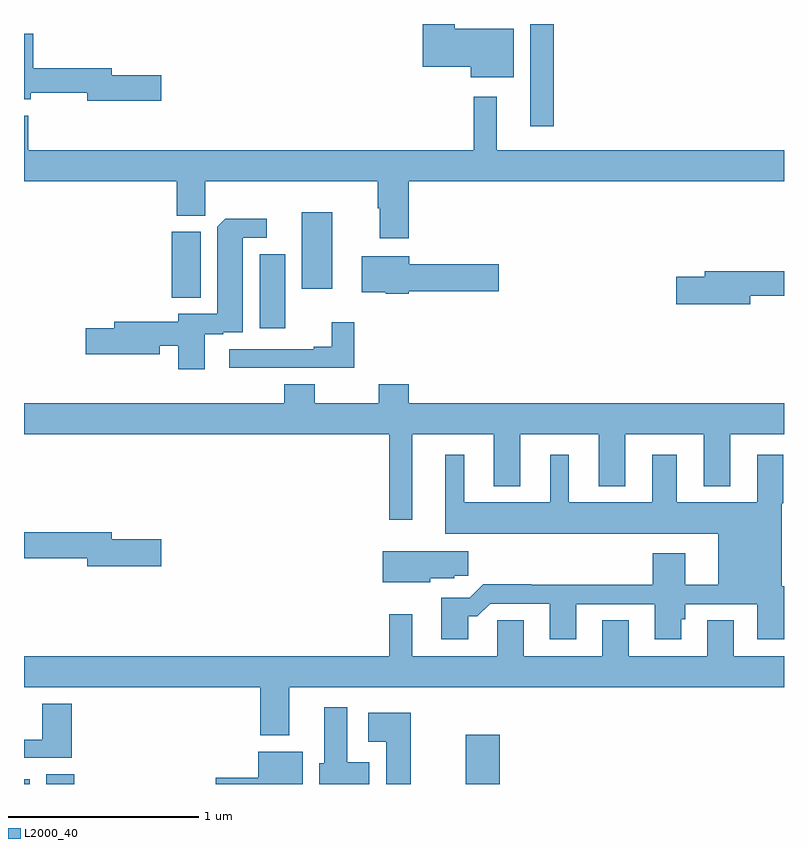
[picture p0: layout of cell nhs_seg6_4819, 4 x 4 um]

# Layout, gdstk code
import gdstk
lib = gdstk.Library(unit=1e-6, precision=1e-09)
def R(c, l, rs):  # rectangles x0, y0, x1, y1
    for r in rs: c.add(gdstk.rectangle(r[:2], r[2:], *l))
def P(c, l, *ps):  # polygons
    for p in ps: c.add(gdstk.Polygon(p, *l))
L2000_40 = (2000, 40)

nhs_seg6_4819 = lib.new_cell('nhs_seg6_4819')
R(nhs_seg6_4819, L2000_40, [(397,941.5,397.03,941.524), (397.118,941.5,397.265,941.552), (399.325,941.5,399.503,941.758), (398.24,943.898,398.374,944.287), (397.778,944.059,397.93,944.406), (398.462,944.106,398.623,944.509), (399.665,944.961,399.787,945.5)])
P(nhs_seg6_4819, L2000_40, [(399.577,945.475),(399.268,945.475),(399.268,945.5),(399.098,945.5),(399.098,945.275),(399.35,945.275),(399.35,945.221),(399.577,945.221)],
  [(397.723,945.23),(397.462,945.23),(397.462,945.266),(397.049,945.266),(397.049,945.449),(397,945.449),(397,945.103),(397.036,945.103),(397.036,945.138),(397.334,945.138),(397.334,945.095),(397.723,945.095)],
  [(399.026,944.672),(401,944.672),(401,944.836),(399.487,944.836),(399.487,945.118),(399.366,945.118),(399.366,944.836),(397.022,944.836),(397.022,945.018),(397,945.018),(397,944.672),(397.805,944.672),(397.805,944.491),(397.955,944.491),(397.955,944.672),(398.861,944.672),(398.861,944.531),(398.873,944.531),(398.873,944.373),(399.026,944.373)],
  [(397.951,943.866),(398.048,943.866),(398.048,943.878),(398.152,943.878),(398.152,944.376),(398.278,944.376),(398.278,944.474),(398.059,944.474),(398.018,944.432),(398.018,943.974),(397.811,943.974),(397.811,943.934),(397.475,943.934),(397.475,943.898),(397.326,943.898),(397.326,943.763),(397.714,943.763),(397.714,943.806),(397.811,943.806),(397.811,943.683),(397.951,943.683)],
  [(399.024,944.093),(399.499,944.093),(399.499,944.235),(399.028,944.235),(399.028,944.278),(398.777,944.278),(398.777,944.087),(398.903,944.087),(398.903,944.08),(399.024,944.08)],
  [(400.822,944.071),(401,944.071),(401,944.2),(400.583,944.2),(400.583,944.171),(400.434,944.171),(400.434,944.024),(400.822,944.024)],
  [(398.738,943.93),(398.62,943.93),(398.62,943.801),(398.525,943.801),(398.525,943.788),(398.079,943.788),(398.079,943.692),(398.738,943.692)],
  [(399.043,943.34),(399.473,943.34),(399.473,943.067),(399.613,943.067),(399.613,943.34),(400.025,943.34),(400.025,943.067),(400.165,943.067),(400.165,943.34),(400.577,943.34),(400.577,943.067),(400.717,943.067),(400.717,943.34),(401,943.34),(401,943.504),(399.026,943.504),(399.026,943.603),(398.866,943.603),(398.866,943.504),(398.529,943.504),(398.529,943.603),(398.369,943.603),(398.369,943.504),(397,943.504),(397,943.34),(398.922,943.34),(398.922,942.891),(399.043,942.891)],
  [(399.337,942.383),(399.386,942.383),(399.453,942.45),(399.767,942.45),(399.767,942.261),(399.907,942.261),(399.907,942.447),(400.319,942.447),(400.319,942.261),(400.459,942.261),(400.459,942.366),(400.48,942.366),(400.48,942.447),(400.859,942.447),(400.859,942.261),(401,942.261),(401,942.54),(400.987,942.54),(400.987,942.978),(400.995,942.978),(400.995,943.234),(400.859,943.234),(400.859,942.982),(400.435,942.982),(400.435,943.234),(400.307,943.234),(400.307,942.982),(399.868,942.982),(399.868,943.234),(399.77,943.234),(399.77,942.982),(399.316,942.982),(399.316,943.234),(399.218,943.234),(399.218,942.818),(400.655,942.818),(400.655,942.548),(400.48,942.548),(400.48,942.715),(400.31,942.715),(400.31,942.548),(399.671,942.548),(399.671,942.551),(399.416,942.551),(399.345,942.48),(399.197,942.48),(399.197,942.261),(399.337,942.261)],
  [(397.723,942.788),(397.462,942.788),(397.462,942.824),(397,942.824),(397,942.688),(397.334,942.688),(397.334,942.646),(397.723,942.646)],
  [(399.138,942.584),(399.264,942.584),(399.264,942.595),(399.337,942.595),(399.337,942.724),(398.888,942.724),(398.888,942.563),(399.138,942.563)],
  [(398.395,942.008),(401,942.008),(401,942.172),(400.735,942.172),(400.735,942.362),(400.595,942.362),(400.595,942.172),(400.183,942.172),(400.183,942.362),(400.043,942.362),(400.043,942.172),(399.631,942.172),(399.631,942.362),(399.492,942.362),(399.492,942.172),(399.043,942.172),(399.043,942.394),(398.922,942.394),(398.922,942.172),(397,942.172),(397,942.008),(398.243,942.008),(398.243,941.756),(398.395,941.756)],
  [(397.25,941.923),(397.097,941.923),(397.097,941.733),(397,941.733),(397,941.637),(397.25,941.637)],
  [(398.818,941.614),(398.701,941.614),(398.701,941.905),(398.579,941.905),(398.579,941.61),(398.555,941.61),(398.555,941.5),(398.818,941.5)],
  [(399.036,941.875),(398.811,941.875),(398.811,941.723),(398.906,941.723),(398.906,941.5),(399.036,941.5)],
  [(398.467,941.671),(398.234,941.671),(398.234,941.532),(398.01,941.532),(398.01,941.5),(398.467,941.5)])

lib.write_gds('nhs_seg6_4819.gds')
